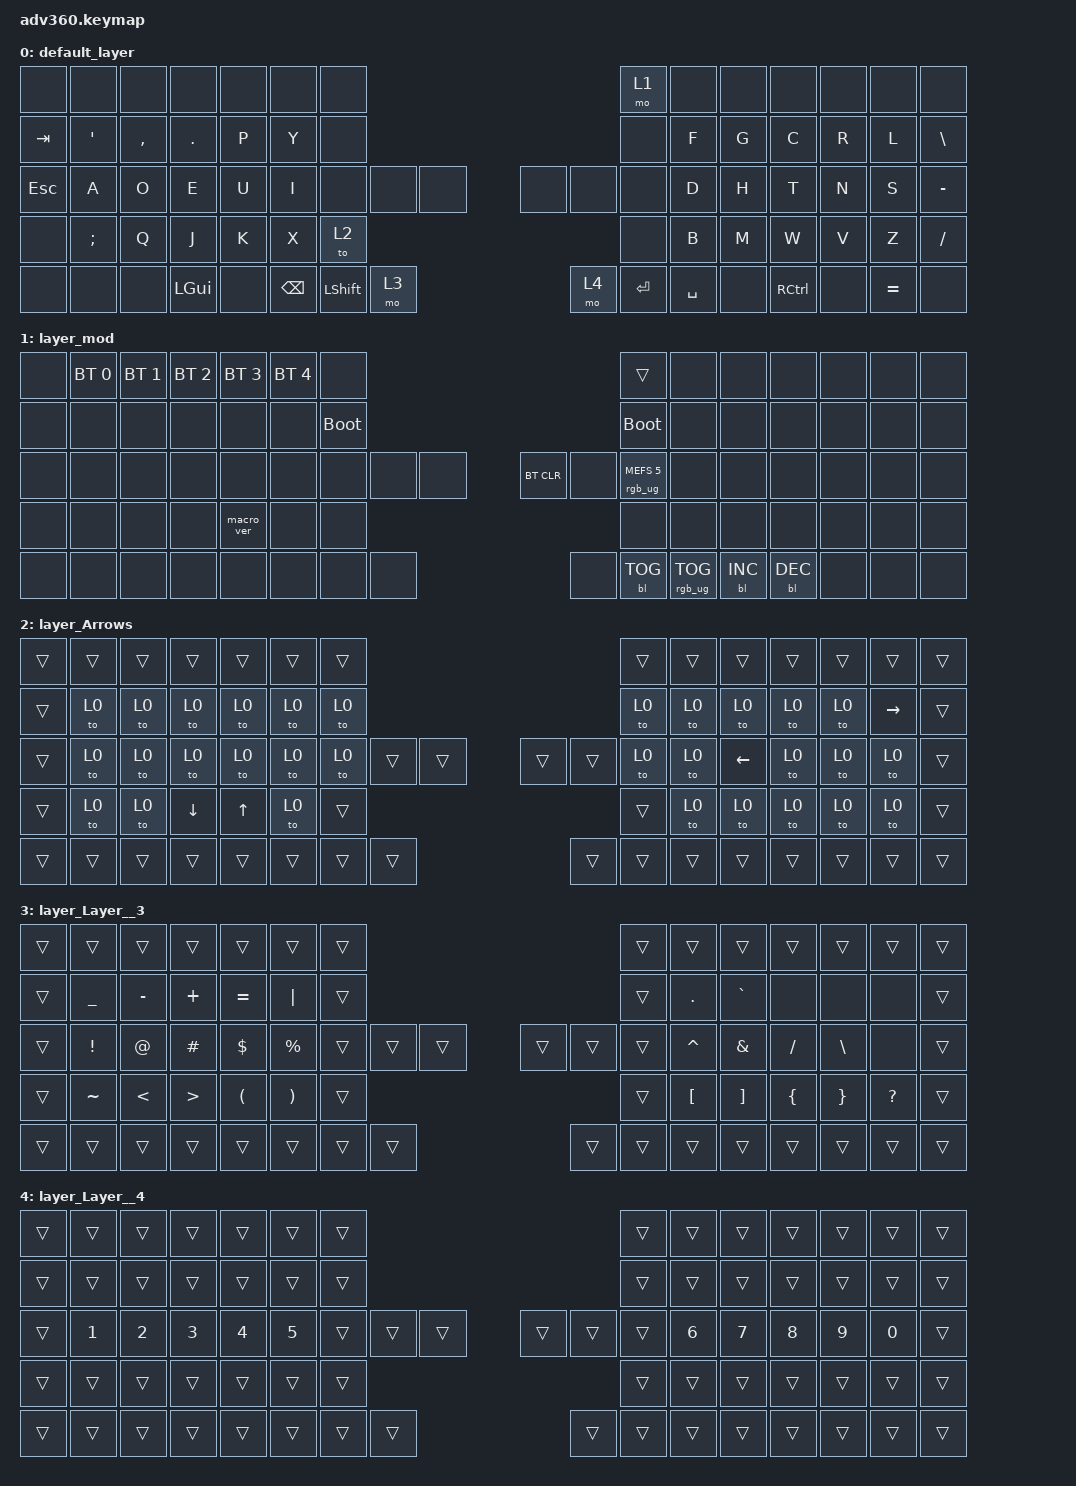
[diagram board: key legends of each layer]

/*
 * Copyright (c) 2020 The ZMK Contributors
 *
 * SPDX-License-Identifier: MIT
 */


/* THIS FILE WAS GENERATED!
 *
 * This file was generated automatically. You may or may not want to
 * edit it directly.
 */

#include <behaviors.dtsi>
#include <dt-bindings/zmk/keys.h>
#include <dt-bindings/zmk/bt.h>
#include <dt-bindings/zmk/rgb.h>
#include <dt-bindings/zmk/backlight.h>

/ {
  behaviors {
    #include "macros.dtsi"
    #include "version.dtsi"

    hm: homerow_mods {
        compatible = "zmk,behavior-hold-tap";
        label = "HOMEROW_MODS";
        #binding-cells = <2>;
        tapping-term-ms = <200>;
        quick_tap_ms = <175>;
        flavor = "tap-preferred";
        bindings = <&kp>, <&kp>;
    };
  };

    keymap {
        compatible = "zmk,keymap";


        default_layer {
            bindings = <
   &none           &none      &none         &none   &none   &none                    &none                                                                 &mo 1   &none   &none      &none   &none      &none      &none
 &kp TAB  &kp APOSTROPHE  &kp COMMA    &kp PERIOD   &kp P   &kp Y                    &none                                                                 &none   &kp F   &kp G      &kp C   &kp R      &kp L   &kp BSLH
 &kp ESC           &kp A      &kp O         &kp E   &kp U   &kp I                    &none           &none   &none                   &none      &none      &none   &kp D   &kp H      &kp T   &kp N      &kp S  &kp MINUS
   &none   &kp SEMICOLON      &kp Q         &kp J   &kp K   &kp X                                            &to 2                   &none                         &kp B   &kp M      &kp W   &kp V      &kp Z   &kp FSLH
   &none           &none      &none  &kp LEFT_GUI   &none                    &kp BACKSPACE  &kp LEFT_SHIFT   &mo 3                   &mo 4  &kp ENTER  &kp SPACE           &none  &kp RCTRL   &none  &kp EQUAL      &none
            >;
        };

        layer_mod {
            bindings = <
  &none  &bt BT_SEL 0  &bt BT_SEL 1  &bt BT_SEL 2  &bt BT_SEL 3  &bt BT_SEL 4                  &none                                                                          &trans   &none       &none       &none   &none   &none   &none
  &none         &none         &none         &none         &none         &none            &bootloader                                                                     &bootloader   &none       &none       &none   &none   &none   &none
  &none         &none         &none         &none         &none         &none                  &none   &none   &none                  &bt BT_CLR       &none  &rgb_ug RGB_MEFS_CMD 5   &none       &none       &none   &none   &none   &none
  &none         &none         &none         &none    &macro_ver         &none                                  &none                       &none                                       &none       &none       &none   &none   &none   &none
  &none         &none         &none         &none         &none                                &none   &none   &none                       &none  &bl BL_TOG         &rgb_ug RGB_TOG          &bl BL_INC  &bl BL_DEC   &none   &none   &none
            >;
        };

        layer_Arrows {
            bindings = <
 &trans  &trans  &trans          &trans        &trans  &trans            &trans                                                  &trans  &trans          &trans  &trans  &trans           &trans  &trans
 &trans   &to 0   &to 0           &to 0         &to 0   &to 0             &to 0                                                   &to 0   &to 0           &to 0   &to 0   &to 0  &kp RIGHT_ARROW  &trans
 &trans   &to 0   &to 0           &to 0         &to 0   &to 0             &to 0  &trans  &trans                  &trans  &trans   &to 0   &to 0  &kp LEFT_ARROW   &to 0   &to 0            &to 0  &trans
 &trans   &to 0   &to 0  &kp DOWN_ARROW  &kp UP_ARROW   &to 0                            &trans                  &trans                   &to 0           &to 0   &to 0   &to 0            &to 0  &trans
 &trans  &trans  &trans          &trans        &trans                    &trans  &trans  &trans                  &trans  &trans  &trans                  &trans  &trans  &trans           &trans  &trans
            >;
        };

        layer_Layer__3 {
            bindings = <
 &trans           &trans         &trans            &trans                &trans                 &trans            &trans                                                  &trans            &trans             &trans          &trans           &trans        &trans  &trans
 &trans   &kp UNDERSCORE      &kp MINUS          &kp PLUS             &kp EQUAL               &kp PIPE            &trans                                                  &trans        &kp PERIOD          &kp GRAVE           &none            &none         &none  &trans
 &trans  &kp EXCLAMATION    &kp AT_SIGN          &kp HASH            &kp DOLLAR            &kp PERCENT            &trans  &trans  &trans                  &trans  &trans  &trans         &kp CARET      &kp AMPERSAND        &kp FSLH         &kp BSLH         &none  &trans
 &trans        &kp TILDE  &kp LESS_THAN  &kp GREATER_THAN  &kp LEFT_PARENTHESIS  &kp RIGHT_PARENTHESIS                            &trans                  &trans                  &kp LEFT_BRACKET  &kp RIGHT_BRACKET  &kp LEFT_BRACE  &kp RIGHT_BRACE  &kp QUESTION  &trans
 &trans           &trans         &trans            &trans                &trans                                   &trans  &trans  &trans                  &trans  &trans  &trans                               &trans          &trans           &trans        &trans  &trans
            >;
        };

        layer_Layer__4 {
            bindings = <
 &trans        &trans        &trans        &trans        &trans        &trans            &trans                                                  &trans        &trans        &trans        &trans        &trans        &trans  &trans
 &trans        &trans        &trans        &trans        &trans        &trans            &trans                                                  &trans        &trans        &trans        &trans        &trans        &trans  &trans
 &trans  &kp NUMBER_1  &kp NUMBER_2  &kp NUMBER_3  &kp NUMBER_4  &kp NUMBER_5            &trans  &trans  &trans                  &trans  &trans  &trans  &kp NUMBER_6  &kp NUMBER_7  &kp NUMBER_8  &kp NUMBER_9  &kp NUMBER_0  &trans
 &trans        &trans        &trans        &trans        &trans        &trans                            &trans                  &trans                        &trans        &trans        &trans        &trans        &trans  &trans
 &trans        &trans        &trans        &trans        &trans                          &trans  &trans  &trans                  &trans  &trans  &trans                      &trans        &trans        &trans        &trans  &trans
            >;
        };

    };
};
